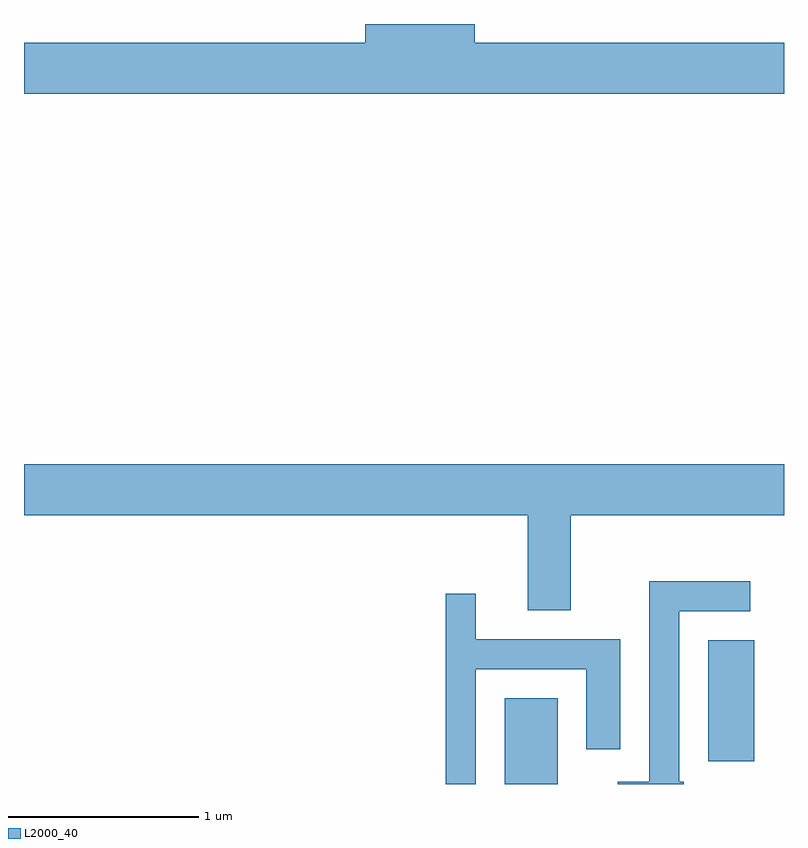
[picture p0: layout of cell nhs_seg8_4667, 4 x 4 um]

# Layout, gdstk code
import gdstk
lib = gdstk.Library(unit=1e-6, precision=1e-09)
def R(c, l, rs):  # rectangles x0, y0, x1, y1
    for r in rs: c.add(gdstk.rectangle(r[:2], r[2:], *l))
def P(c, l, *ps):  # polygons
    for p in ps: c.add(gdstk.Polygon(p, *l))
L2000_40 = (2000, 40)

nhs_seg8_4667 = lib.new_cell('nhs_seg8_4667')
R(nhs_seg8_4667, L2000_40, [(328.141,1828.342,328.419,1828.794), (329.211,1828.461,329.454,1829.099)])
P(nhs_seg8_4667, L2000_40, [(329.611,1832.244),(327.984,1832.244),(327.984,1832.342),(327.406,1832.342),(327.406,1832.244),(325.611,1832.244),(325.611,1831.976),(329.611,1831.976)],
  [(328.489,1829.756),(329.611,1829.756),(329.611,1830.024),(325.611,1830.024),(325.611,1829.756),(328.261,1829.756),(328.261,1829.256),(328.489,1829.256)],
  [(329.084,1828.354),(329.059,1828.354),(329.059,1829.251),(329.433,1829.251),(329.433,1829.409),(328.901,1829.409),(328.901,1828.354),(328.736,1828.354),(328.736,1828.342),(329.084,1828.342)],
  [(327.989,1828.946),(328.571,1828.946),(328.571,1828.526),(328.749,1828.526),(328.749,1829.104),(327.989,1829.104),(327.989,1829.343),(327.831,1829.343),(327.831,1828.342),(327.989,1828.342)])

lib.write_gds('nhs_seg8_4667.gds')
